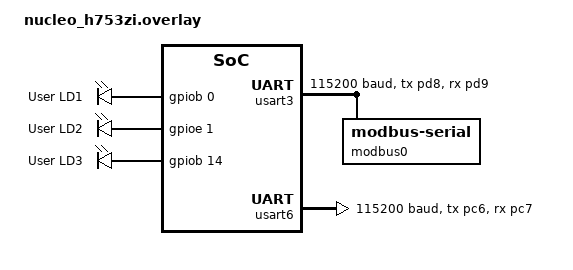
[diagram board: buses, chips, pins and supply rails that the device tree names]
/*
 * Copyright (c) 2021 Blue Clover Devices
 *
 * SPDX-License-Identifier: Apache-2.0
 */

 // #include <st/h7/stm32h753Xi.dtsi>
 // #include <st/h7/stm32h753zitx-pinctrl.dtsi>
 
 / {
     chosen {
         zephyr,console = &usart6;
         zephyr,shell-uart = &usart6;
     };
 
     leds {
         compatible = "gpio-leds";
         green_led: led_0 {
             gpios = <&gpiob 0 GPIO_ACTIVE_HIGH>;
             label = "User LD1";
         };
         yellow_led: led_1 {
             gpios = <&gpioe 1 GPIO_ACTIVE_HIGH>;
             label = "User LD2";
         };
         red_led: led_2 {
            gpios = <&gpiob 14 GPIO_ACTIVE_HIGH>;
            label = "User LD3";
        };
     };

     aliases {
		led0 = &green_led;
		led1 = &yellow_led;
        led2 = &red_led;
		sw0 = &user_button;
	};
 };

 &usart3 {
     pinctrl-0 = <&usart3_tx_pd8 &usart3_rx_pd9>;
     pinctrl-names = "default";
     current-speed = <115200>;
     status = "okay";

     modbus0 {
		compatible = "zephyr,modbus-serial";
		status = "okay";
		// de-gpios = I HAVE NO INFORMATION ABOUT DATA ENABLE PIN!!!
	};
 };

 &usart6 {
    pinctrl-0 = <&usart6_tx_pc6 &usart6_rx_pc7>;
    pinctrl-names = "default";
    current-speed = <115200>;
    status = "okay";
};
 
